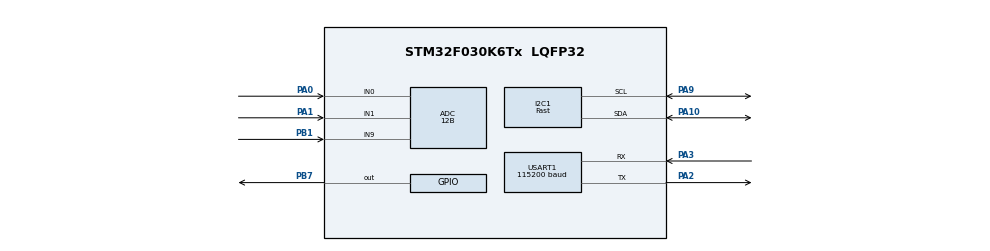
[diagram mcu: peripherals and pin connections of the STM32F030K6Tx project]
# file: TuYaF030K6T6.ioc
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ADC.ContinuousConvMode=ENABLE
ADC.DMAContinuousRequests=ENABLE
ADC.DiscontinuousConvMode=DISABLE
ADC.EOCSelection=ADC_EOC_SINGLE_CONV
ADC.EnableAnalogWatchDog=false
ADC.Resolution=ADC_RESOLUTION_12B
ADC.SamplingTime=ADC_SAMPLETIME_239CYCLES_5
Dma.ADC.0.Direction=DMA_PERIPH_TO_MEMORY
Dma.ADC.0.Instance=DMA1_Channel1
Dma.ADC.0.MemDataAlignment=DMA_MDATAALIGN_HALFWORD
Dma.ADC.0.MemInc=DMA_MINC_ENABLE
Dma.ADC.0.Mode=DMA_CIRCULAR
Dma.ADC.0.PeriphDataAlignment=DMA_PDATAALIGN_HALFWORD
Dma.ADC.0.PeriphInc=DMA_PINC_DISABLE
Dma.ADC.0.Priority=DMA_PRIORITY_HIGH
Dma.Request0=ADC
I2C1.I2C_Speed_Mode=I2C_Fast
I2C1.Speed=150
I2C1.Timing=0x004036FF
IWDG.Prescaler=IWDG_PRESCALER_64
IWDG.Reload=625
IWDG.Window=625
Mcu.Family=STM32F0
Mcu.Name=STM32F030K6Tx
Mcu.Package=LQFP32
NVIC.ADC1_IRQn=true\:0\:0\:false\:false\:true\:true\:true
NVIC.DMA1_Channel1_IRQn=true\:0\:0\:false\:false\:true\:false\:true
NVIC.TIM17_IRQn=true\:3\:0\:true\:false\:true\:true\:true
NVIC.USART1_IRQn=true\:0\:0\:false\:false\:true\:true\:true
PA0.Mode=IN0
PA0.Signal=ADC_IN0
PA1.Mode=IN1
PA1.Signal=ADC_IN1
PA10.Mode=I2C
PA10.Signal=I2C1_SDA
PA13.Mode=Serial_Wire
PA13.Signal=SYS_SWDIO
PA14.Mode=Serial_Wire
PA14.Signal=SYS_SWCLK
PA2.Mode=Asynchronous
PA2.Signal=USART1_TX
PA3.Mode=Asynchronous
PA3.Signal=USART1_RX
PA9.Mode=I2C
PA9.Signal=I2C1_SCL
PB1.Mode=IN9
PB1.Signal=ADC_IN9
PB7.Signal=GPIO_Output
ProjectManager.HeapSize=0x200
ProjectManager.StackSize=0x400
ProjectManager.TargetToolchain=STM32CubeIDE
RCC.AHBFreq_Value=48000000
RCC.APB1Freq_Value=48000000
RCC.APB1TimFreq_Value=48000000
RCC.HCLKFreq_Value=48000000
RCC.I2c1ClockSelection=RCC_I2C1CLKSOURCE_SYSCLK
RCC.PLLMUL=RCC_PLL_MUL12
RCC.RCC_MCOMult_Clock_Source_FROM_PLLMUL=RCC_MCO1SOURCE_PLLCLK_DIV2
RCC.RCC_MCOSource=RCC_MCO1SOURCE_PLLCLK_DIV2
RCC.SYSCLKFreq_VALUE=48000000
RCC.SYSCLKSource=RCC_SYSCLKSOURCE_PLLCLK
RTC.Format=RTC_FORMAT_BIN
RTC.SynchPrediv=311
TIM17.AutoReloadPreload=TIM_AUTORELOAD_PRELOAD_ENABLE
TIM17.Period=5535
TIM17.Prescaler=47999
TIM17.RepetitionCounter=99
USART1.BaudRate=115200
USART1.VirtualMode-Asynchronous=VM_ASYNC
VP_IWDG_VS_IWDG.Mode=IWDG_Activate
VP_RTC_VS_RTC_Activate.Mode=RTC_Enabled
VP_RTC_VS_RTC_Calendar.Mode=RTC_Calendar
VP_TIM17_VS_ClockSourceINT.Mode=Enable_Timer
board=custom

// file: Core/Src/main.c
/* USER CODE BEGIN Header */
/**
 ******************************************************************************
 * @file           : main.c
 * @brief          : Main program body
 ******************************************************************************
 * @attention
 *
 * <h2><center>&copy; Copyright (c) 2021 STMicroelectronics.
 * All rights reserved.</center></h2>
 *
 * This software component is licensed by ST under BSD 3-Clause license,
 * the "License"; You may not use this file except in compliance with the
 * License. You may obtain a copy of the License at:
 *                        opensource.org/licenses/BSD-3-Clause
 *
 ******************************************************************************
 */
/* USER CODE END Header */
#include "main.h"
#include "adc.h"
#include "dma.h"
#include "i2c.h"
#include "iwdg.h"
#include "rtc.h"
#include "tim.h"
#include "usart.h"
#include "gpio.h"

void SystemClock_Config(void);
/* USER CODE BEGIN PFP */
//Display Flag
unsigned char isDisplay=1;
//USART Receive Buffer
unsigned char aRxBuffer;
//ADC Value
uint16_t ADval[3];
//Temperature and Humidity
float Temperature=0,Humidity=0;
//Date and Time Display from (X,Y)
const unsigned char DX=0,DY=0,TX=32,TY=2;
/* USER CODE END PFP */

/* USER CODE BEGIN 0 */
void OLED_Show_Time()
{
	RTC_TimeTypeDef T;
	RTC_DateTypeDef D;
	//Get_RTC_Time
	HAL_RTC_GetTime(&hrtc, &T, RTC_FORMAT_BIN);
	HAL_RTC_GetDate(&hrtc, &D, RTC_FORMAT_BIN);
	//Get Internet Time
	if(D.Year==0)
	{
		mcu_get_system_time();
		HAL_RTC_GetTime(&hrtc, &T, RTC_FORMAT_BIN);
		HAL_RTC_GetDate(&hrtc, &D, RTC_FORMAT_BIN);
	}
	OLED_ShowNum(DX, DY, D.Year+2000, 4, 16,' ');		//Number of Year
	OLED_ShowCHinese(DX+8*4, DY, 0);					//Year
	OLED_ShowNum(DX+8*4+16*1, DY, D.Month, 2, 16,'0');	//Number of Month
	OLED_ShowCHinese(DX+8*6+16*1, DY, 1); 				//Month
	OLED_ShowNum(DX+8*6+16*2, DY, D.Date, 2, 16,'0');	//Number of Day
	OLED_ShowCHinese(DX+8*8+16*2, DY, 2);				//Day
	OLED_ShowCHinese(DX+8*8+16*3, DY, D.WeekDay+5);		//Week

	OLED_ShowNum(TX+8*0, TY, T.Hours, 2, 16, '0');		//Number of Hours
	OLED_ShowChar(TX+8*2, TY, ':', 16, 0);				//:
	OLED_ShowNum(TX+8*3, TY, T.Minutes, 2, 16, '0');	//Number of Minutes
	OLED_ShowChar(TX+8*5, TY, ':', 16, 0);				//:
	OLED_ShowNum(TX+8*6, TY, T.Seconds, 2, 16, '0');	//Number of Seconds

	//OLED_Refreash();
}
/* USER CODE END 0 */

int main(void)
{
	/* USER CODE BEGIN 1 */
	unsigned char perIR=0,isClear=0;
	/* USER CODE END 1 */

	/* MCU Configuration--------------------------------------------------------*/

	/* Reset of all peripherals, Initializes the Flash interface and the Systick. */
	HAL_Init();

	/* Configure the system clock */
	SystemClock_Config();

	/* Initialize all configured peripherals */
	MX_GPIO_Init();
	MX_DMA_Init();
	MX_ADC_Init();
	MX_I2C1_Init();
	MX_USART1_UART_Init();
	MX_RTC_Init();
	MX_TIM17_Init();
	MX_IWDG_Init();

	/* Infinite loop */
	/* USER CODE BEGIN WHILE */
	//OLED init
	OLED_Init();
	OLED_Clear();
	OLED_Refreash();
	//SHT30 Init
	sht30_init();
	//Start TIM17
	LL_TIM_ClearFlag_UPDATE(TIM17);
	LL_TIM_EnableIT_UPDATE(TIM17);
	LL_TIM_EnableCounter(TIM17);
	//Start ADC Calibration
	//HAL_ADCEx_Calibration_Start(&hadc);
	HAL_Delay(200);
	//TUYA WIFI Init
	wifi_protocol_init();
	//Start Serial Interrupt
	HAL_UART_Receive_IT(&huart1,&aRxBuffer,1);
	//Get Internet Time
	mcu_get_system_time();
	//Start DMA cycle transfer
	HAL_ADC_Start_DMA(&hadc, (uint32_t*)ADval, 3);
	while (1)
	{
		//TuYa Wifi service
		wifi_uart_service();
		/* USER CODE END WHILE */

		/* USER CODE BEGIN 3 */
		perIR=ADval[IRR_Ar];
		//Get SHT30 data
		sht30_sample(&Temperature, &Humidity);
		//Update data
		all_data_update();
		//Determine whether to update the display status
		if(ADval[IRR_Ar]>=220 && perIR<=200)
		{
			isDisplay=!isDisplay;
		}
		//noDisplay and noClear?
		if(!isDisplay)
		{
			if(!isClear)
			{
				//Close OLED
				OLED_Clear();
				OLED_Refreash();
				isClear=1;
			}
			HAL_IWDG_Refresh(&hiwdg);
			//Close MCU_LED
			HAL_GPIO_WritePin(GPIOB, GPIO_PIN_7, SET);
			HAL_Delay(100);
			continue;
		}
		//Flash light
		HAL_GPIO_TogglePin(GPIOB, GPIO_PIN_7);
		//Output percentage brightness
		OLED_ShowString(0, 4, (unsigned char*)"Light:", 16);
		OLED_ShowNum(48, 4, 100-ADval[Light_Ar]/40.96, 2, 16,' ');
		/*
		//Display infrared Or Battery voltage **Only Choose one of them
		OLED_ShowString(48+8*3, 4, (unsigned char*)"IR:", 16);
		OLED_ShowNum(48+8*6, 4, ADval[IRR_Ar], 4, 16,'0');
		 */
		//Display Battery voltage 0.80566mV/Counter
		OLED_ShowString(64+8*1, 4, (unsigned char*)"B:", 16);
		OLED_ShowNum(64+8*3, 4, ADval[BAT_Ar]*0.80566/1000*10.1, 1, 16,'0');
		OLED_ShowChar(64+8*4, 4, '.', 16, 0);
		OLED_ShowNum(64+8*5, 4, (int)(ADval[BAT_Ar]*0.80566/10*10.1)%100, 2, 16,'0');
		OLED_ShowChar(64+8*7, 4, 'V', 16, 0);
		//Display Tempreature
		OLED_ShowString(0, 6, (unsigned char*)"Temp:", 16);
		OLED_ShowNum(5*8, 6, Temperature, 2, 16,' ');
		OLED_ShowString(7*8, 6, (unsigned char*)".", 16);
		OLED_ShowNum(8*8, 6, ((int)(Temperature*10))%10, 1, 16,' ');
		//Display Humidity
		OLED_ShowString(9*8, 6, (unsigned char*)"Humi:", 16);
		OLED_ShowNum(14*8, 6, Humidity, 2, 16,' ');
		//Display time
		OLED_Show_Time();
		//Refresh OLED
		OLED_Refreash();
		//Reset Flag
		isClear=0;
		//Delay 100ms
		HAL_IWDG_Refresh(&hiwdg);
		HAL_Delay(100);
	}
	/* USER CODE END 3 */
}

void SystemClock_Config(void)
{
	LL_FLASH_SetLatency(LL_FLASH_LATENCY_1);
	while(LL_FLASH_GetLatency() != LL_FLASH_LATENCY_1)
	{
	}
	LL_RCC_HSI_Enable();

	/* Wait till HSI is ready */
	while(LL_RCC_HSI_IsReady() != 1)
	{

	}
	LL_RCC_HSI_SetCalibTrimming(16);
	LL_RCC_HSI14_Enable();

	/* Wait till HSI14 is ready */
	while(LL_RCC_HSI14_IsReady() != 1)
	{

	}
	LL_RCC_HSI14_SetCalibTrimming(16);
	LL_RCC_LSI_Enable();

	/* Wait till LSI is ready */
	while(LL_RCC_LSI_IsReady() != 1)
	{

	}
	LL_PWR_EnableBkUpAccess();
	if(LL_RCC_GetRTCClockSource() != LL_RCC_RTC_CLKSOURCE_LSI)
	{
		LL_RCC_ForceBackupDomainReset();
		LL_RCC_ReleaseBackupDomainReset();
		LL_RCC_SetRTCClockSource(LL_RCC_RTC_CLKSOURCE_LSI);
	}
	LL_RCC_EnableRTC();
	LL_RCC_PLL_ConfigDomain_SYS(LL_RCC_PLLSOURCE_HSI_DIV_2, LL_RCC_PLL_MUL_12);
	LL_RCC_PLL_Enable();

	/* Wait till PLL is ready */
	while(LL_RCC_PLL_IsReady() != 1)
	{

	}
	LL_RCC_SetAHBPrescaler(LL_RCC_SYSCLK_DIV_1);
	LL_RCC_SetAPB1Prescaler(LL_RCC_APB1_DIV_1);
	LL_RCC_SetSysClkSource(LL_RCC_SYS_CLKSOURCE_PLL);

	/* Wait till System clock is ready */
	while(LL_RCC_GetSysClkSource() != LL_RCC_SYS_CLKSOURCE_STATUS_PLL)
	{

	}
	LL_SetSystemCoreClock(48000000);

	/* Update the time base */
	if (HAL_InitTick (TICK_INT_PRIORITY) != HAL_OK)
	{
		Error_Handler();
	}
	LL_RCC_HSI14_EnableADCControl();
	LL_RCC_SetUSARTClockSource(LL_RCC_USART1_CLKSOURCE_PCLK1);
	LL_RCC_SetI2CClockSource(LL_RCC_I2C1_CLKSOURCE_SYSCLK);
}

/* USER CODE BEGIN 4 */
void HAL_UART_RxCpltCallback(UART_HandleTypeDef *huart)
{
	UNUSED(huart);
	uart_receive_input(aRxBuffer);
	//HAL_UART_Transmit(&huart1, &aRxBuffer, 1, 0xff);
	HAL_UART_Receive_IT(&huart1,&aRxBuffer,1);
}
/* USER CODE END 4 */

void Error_Handler(void)
{
	__disable_irq();
	while (1)
	{
	}
}

/************************ (C) COPYRIGHT STMicroelectronics *****END OF FILE****/
